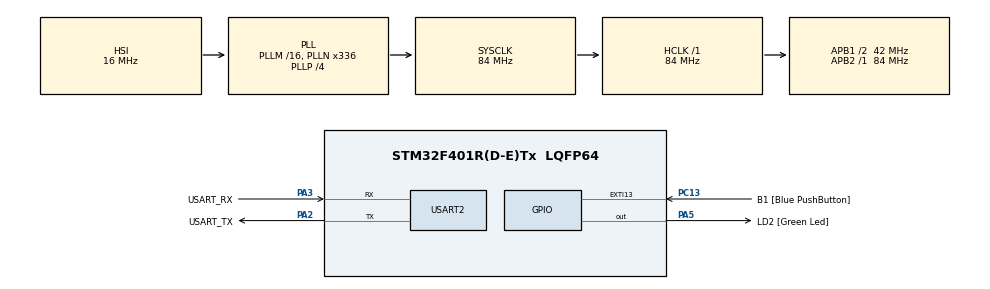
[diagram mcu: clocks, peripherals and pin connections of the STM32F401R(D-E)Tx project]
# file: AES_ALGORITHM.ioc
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Mcu.Family=STM32F4
PC15-OSC32_OUT.Mode=LSE-External-Oscillator
PA2.GPIO_PuPd=GPIO_NOPULL
RCC.CortexFreq_Value=84000000
FREERTOS.Tasks01=defaultTask,0,128,StartDefaultTask,Default,NULL,Dynamic,NULL,NULL
PC13-ANTI_TAMP.GPIO_PuPd=GPIO_NOPULL
PC13-ANTI_TAMP.GPIO_Label=B1 [Blue PushButton]
wolfSSL.I-CUBE-wolfSSL.4.7.0.wolfSSLCcwolfSSLJjwolfSSLJjCore=true
wolfSSL.I-CUBE-wolfSSL.4.7.0.WOLF_CONF_MATH=4
PA14.GPIO_Label=TCK
PA3.GPIO_PuPd=GPIO_NOPULL
PH1\ -\ OSC_OUT.Mode=HSE-External-Clock-Source
PA2.GPIO_Speed=GPIO_SPEED_FREQ_LOW
RCC.APB1CLKDivider=RCC_HCLK_DIV2
PC14-OSC32_IN.Signal=RCC_OSC32_IN
PA3.GPIO_Speed=GPIO_SPEED_FREQ_LOW
RCC.SYSCLKSource=RCC_SYSCLKSOURCE_PLLCLK
ProjectManager.StackSize=0x400
wolfSSL.I-CUBE-wolfSSL.4.7.0.WOLF_CONF_AESCBC=0
PA3.Mode=Asynchronous
PA13.Signal=SYS_JTMS-SWDIO
PH0\ -\ OSC_IN.Mode=HSE-External-Clock-Source
PH0\ -\ OSC_IN.Signal=RCC_OSC_IN
ProjectManager.TargetToolchain=Makefile
PA3.GPIO_Mode=GPIO_MODE_AF_PP
RCC.HCLKFreq_Value=84000000
RCC.APB2TimFreq_Value=84000000
PC15-OSC32_OUT.Signal=RCC_OSC32_OUT
RCC.AHBFreq_Value=84000000
PA5.Signal=GPIO_Output
RCC.HSE_VALUE=8000000
PH1\ -\ OSC_OUT.Signal=RCC_OSC_OUT
board=NUCLEO-F401RE
wolfSSL.I-CUBE-wolfSSL.4.7.0.WOLF_CONF_RTOS=2
PC13-ANTI_TAMP.Signal=GPXTI13
RCC.VCOOutputFreq_Value=336000000
wolfSSL.I-CUBE-wolfSSL.4.7.0.wolfSSLCcwolfSSLJjwolfCryptJjTest=true
RCC.APB2Freq_Value=84000000
PC14-OSC32_IN.Mode=LSE-External-Oscillator
PA14.Mode=Serial_Wire
VP_SYS_VS_tim1.Mode=TIM1
PA5.GPIO_PuPd=GPIO_NOPULL
wolfSSL.I-CUBE-wolfSSL.4.7.0.wolfSSLCcwolfSSLJjwolfCryptJjCore=true
VP_FREERTOS_VS_CMSIS_V1.Mode=CMSIS_V1
PA13.Mode=Serial_Wire
Mcu.Name=STM32F401R(D-E)Tx
PA2.Signal=USART2_TX
PA13.GPIO_Label=TMS
RCC.48MHZClocksFreq_Value=48000000
PB3.Signal=SYS_JTDO-SWO
RCC.SYSCLKFreq_VALUE=84000000
Mcu.Package=LQFP64
NVIC.TimeBase=TIM1_UP_TIM10_IRQn
PA5.GPIO_Label=LD2 [Green Led]
USART2.VirtualMode=VM_ASYNC
PC13-ANTI_TAMP.GPIO_ModeDefaultEXTI=GPIO_MODE_IT_FALLING
PA2.GPIO_Label=USART_TX
NVIC.TimeBaseIP=TIM1
PA14.Signal=SYS_JTCK-SWCLK
ProjectManager.HeapSize=0x200
NVIC.TIM1_UP_TIM10_IRQn=true\:0\:0\:false\:false\:true\:false\:false\:true
RCC.HSI_VALUE=16000000
RCC.PLLP=RCC_PLLP_DIV4
PA5.GPIO_Speed=GPIO_SPEED_FREQ_LOW
RCC.PLLQ=7
NVIC.PriorityGroup=NVIC_PRIORITYGROUP_4
RCC.PLLN=336
RCC.APB1TimFreq_Value=84000000
PA2.Mode=Asynchronous
RCC.APB1Freq_Value=42000000
PA5.GPIO_Mode=GPIO_MODE_OUTPUT_PP
PA3.GPIO_Label=USART_RX
PA3.Signal=USART2_RX
VP_wolfSSL.I-CUBE-wolfSSL_VS_wolfSSLJjwolfSSL_4.7.0.Mode=wolfSSLJjwolfSSL
PA2.GPIO_Mode=GPIO_MODE_AF_PP
PB3.GPIO_Label=SWO

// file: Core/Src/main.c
/* USER CODE BEGIN Header */
/**
  ******************************************************************************
  * @file           : main.c
  * @brief          : Main program body
  ******************************************************************************
  * @attention
  *
  * <h2><center>&copy; Copyright (c) 2021 STMicroelectronics.
  * All rights reserved.</center></h2>
  *
  * This software component is licensed by ST under Ultimate Liberty license
  * SLA0044, the "License"; You may not use this file except in compliance with
  * the License. You may obtain a copy of the License at:
  *                             www.st.com/SLA0044
  *
  ******************************************************************************
  */
/* USER CODE END Header */
#include "main.h"
#include "cmsis_os.h"
#include "wolfssl/wolfcrypt/aes.h"
#include "wolfssl/wolfcrypt/random.h"

UART_HandleTypeDef huart2;

osThreadId defaultTaskHandle;

void SystemClock_Config(void);
static void MX_GPIO_Init(void);
static void MX_USART2_UART_Init(void);
void StartDefaultTask(void const * argument);

int main(void)
{

  /* MCU Configuration--------------------------------------------------------*/

  /* Reset of all peripherals, Initializes the Flash interface and the Systick. */
  HAL_Init();

  /* Configure the system clock */
  SystemClock_Config();

  /* Initialize all configured peripherals */
  MX_GPIO_Init();
  MX_USART2_UART_Init();

  /* Create the thread(s) */
  /* definition and creation of defaultTask */
  osThreadDef(defaultTask, StartDefaultTask, osPriorityNormal, 0, 128);
  defaultTaskHandle = osThreadCreate(osThread(defaultTask), NULL);

  /* Start scheduler */
  osKernelStart();

  /* We should never get here as control is now taken by the scheduler */
  /* Infinite loop */
  while (1)
  {

  }
}

void SystemClock_Config(void)
{
  RCC_OscInitTypeDef RCC_OscInitStruct = {0};
  RCC_ClkInitTypeDef RCC_ClkInitStruct = {0};

  /** Configure the main internal regulator output voltage
  */
  __HAL_RCC_PWR_CLK_ENABLE();
  __HAL_PWR_VOLTAGESCALING_CONFIG(PWR_REGULATOR_VOLTAGE_SCALE2);
  /** Initializes the RCC Oscillators according to the specified parameters
  * in the RCC_OscInitTypeDef structure.
  */
  RCC_OscInitStruct.OscillatorType = RCC_OSCILLATORTYPE_HSI;
  RCC_OscInitStruct.HSIState = RCC_HSI_ON;
  RCC_OscInitStruct.HSICalibrationValue = RCC_HSICALIBRATION_DEFAULT;
  RCC_OscInitStruct.PLL.PLLState = RCC_PLL_ON;
  RCC_OscInitStruct.PLL.PLLSource = RCC_PLLSOURCE_HSI;
  RCC_OscInitStruct.PLL.PLLM = 16;
  RCC_OscInitStruct.PLL.PLLN = 336;
  RCC_OscInitStruct.PLL.PLLP = RCC_PLLP_DIV4;
  RCC_OscInitStruct.PLL.PLLQ = 7;
  if (HAL_RCC_OscConfig(&RCC_OscInitStruct) != HAL_OK)
  {
    Error_Handler();
  }
  /** Initializes the CPU, AHB and APB buses clocks
  */
  RCC_ClkInitStruct.ClockType = RCC_CLOCKTYPE_HCLK|RCC_CLOCKTYPE_SYSCLK
                              |RCC_CLOCKTYPE_PCLK1|RCC_CLOCKTYPE_PCLK2;
  RCC_ClkInitStruct.SYSCLKSource = RCC_SYSCLKSOURCE_PLLCLK;
  RCC_ClkInitStruct.AHBCLKDivider = RCC_SYSCLK_DIV1;
  RCC_ClkInitStruct.APB1CLKDivider = RCC_HCLK_DIV2;
  RCC_ClkInitStruct.APB2CLKDivider = RCC_HCLK_DIV1;

  if (HAL_RCC_ClockConfig(&RCC_ClkInitStruct, FLASH_LATENCY_2) != HAL_OK)
  {
    Error_Handler();
  }
}

static void MX_USART2_UART_Init(void)
{

  huart2.Instance = USART2;
  huart2.Init.BaudRate = 115200;
  huart2.Init.WordLength = UART_WORDLENGTH_8B;
  huart2.Init.StopBits = UART_STOPBITS_1;
  huart2.Init.Parity = UART_PARITY_NONE;
  huart2.Init.Mode = UART_MODE_TX_RX;
  huart2.Init.HwFlowCtl = UART_HWCONTROL_NONE;
  huart2.Init.OverSampling = UART_OVERSAMPLING_16;
  if (HAL_UART_Init(&huart2) != HAL_OK)
  {
    Error_Handler();
  }

}

static void MX_GPIO_Init(void)
{
  GPIO_InitTypeDef GPIO_InitStruct = {0};

  /* GPIO Ports Clock Enable */
  __HAL_RCC_GPIOC_CLK_ENABLE();
  __HAL_RCC_GPIOH_CLK_ENABLE();
  __HAL_RCC_GPIOA_CLK_ENABLE();
  __HAL_RCC_GPIOB_CLK_ENABLE();

  /*Configure GPIO pin Output Level */
  HAL_GPIO_WritePin(LD2_GPIO_Port, LD2_Pin, GPIO_PIN_RESET);

  /*Configure GPIO pin : B1_Pin */
  GPIO_InitStruct.Pin = B1_Pin;
  GPIO_InitStruct.Mode = GPIO_MODE_IT_FALLING;
  GPIO_InitStruct.Pull = GPIO_NOPULL;
  HAL_GPIO_Init(B1_GPIO_Port, &GPIO_InitStruct);

  /*Configure GPIO pin : LD2_Pin */
  GPIO_InitStruct.Pin = LD2_Pin;
  GPIO_InitStruct.Mode = GPIO_MODE_OUTPUT_PP;
  GPIO_InitStruct.Pull = GPIO_NOPULL;
  GPIO_InitStruct.Speed = GPIO_SPEED_FREQ_LOW;
  HAL_GPIO_Init(LD2_GPIO_Port, &GPIO_InitStruct);

}

void StartDefaultTask(void const * argument)
{
  /* USER CODE BEGIN 5 */
  /* Infinite loop */
  for(;;)
  {

    WC_RNG * rng;
    Aes aes;

    int ret = -1;
    byte key[] = {"1234567890abcdef"};

    byte iv[AES_BLOCK_SIZE];

    byte text[]  = {"Lorem ipsum  \r\n"};

    int AES_TEXT_SIZE = sizeof(text);
    if(AES_TEXT_SIZE%AES_BLOCK_SIZE!=0){
      AES_TEXT_SIZE = sizeof(text)+(AES_BLOCK_SIZE-sizeof(text)%AES_BLOCK_SIZE);
    }
    byte plain[AES_TEXT_SIZE];
    byte plain2[AES_TEXT_SIZE];
    byte cipher[AES_TEXT_SIZE];

    strcpy(plain, text);

    ret = wc_InitRng(rng);

    ret = wc_RNG_GenerateBlock(rng, iv, AES_BLOCK_SIZE);

    HAL_UART_Transmit(&huart2,plain,sizeof(plain),1000);

    ret = wc_AesSetKey(&aes, key, AES_BLOCK_SIZE, iv, AES_ENCRYPTION);
    ret = wc_AesCbcEncrypt(&aes, cipher, plain, sizeof(plain));

    HAL_UART_Transmit(&huart2,cipher,sizeof(cipher),1000);

    ret = wc_AesSetKey(&aes, key, AES_BLOCK_SIZE, iv, AES_DECRYPTION);
    ret = wc_AesCbcDecrypt(&aes, plain2, cipher, sizeof(cipher));

    HAL_UART_Transmit(&huart2,plain2,sizeof(plain2),1000);

    osDelay(1000);
  }
  /* USER CODE END 5 */
}

 /**
  * @brief  Period elapsed callback in non blocking mode
  * @note   This function is called  when TIM1 interrupt took place, inside
  * HAL_TIM_IRQHandler(). It makes a direct call to HAL_IncTick() to increment
  * a global variable "uwTick" used as application time base.
  * @param  htim : TIM handle
  * @retval None
  */
void HAL_TIM_PeriodElapsedCallback(TIM_HandleTypeDef *htim)
{
  if (htim->Instance == TIM1) {
    HAL_IncTick();
  }
}

void Error_Handler(void)
{
  __disable_irq();
  while (1)
  {
  }
}

/************************ (C) COPYRIGHT STMicroelectronics *****END OF FILE****/
